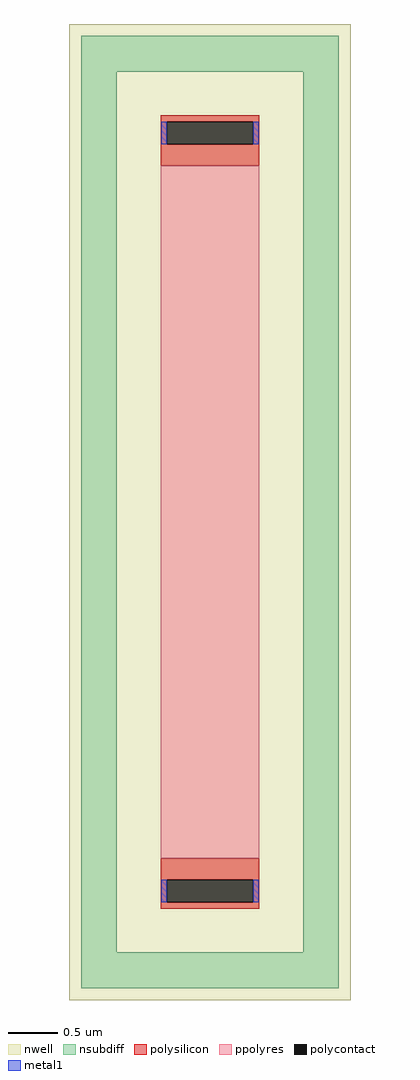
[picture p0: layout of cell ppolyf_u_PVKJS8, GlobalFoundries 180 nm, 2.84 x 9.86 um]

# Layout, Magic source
magic
tech gf180mcuC
magscale 1 10
<< nwell >>
rect -284 -986 284 986
<< nsubdiff >>
rect -260 890 260 962
rect -260 -890 -188 890
rect 188 -890 260 890
rect -260 -962 260 -890
<< polysilicon >>
rect -100 789 100 802
rect -100 743 -87 789
rect 87 743 100 789
rect -100 700 100 743
rect -100 -743 100 -700
rect -100 -789 -87 -743
rect 87 -789 100 -743
rect -100 -802 100 -789
<< polycontact >>
rect -87 743 87 789
rect -87 -789 87 -743
<< ppolyres >>
rect -100 -700 100 700
<< metal1 >>
rect -98 743 -87 789
rect 87 743 98 789
rect -98 -789 -87 -743
rect 87 -789 98 -743
<< properties >>
string FIXED_BBOX -224 -926 224 926
string gencell ppolyf_u
string library gf180mcu
string parameters w 1.0 l 7.0 m 1 nx 1 wmin 0.80 lmin 1.00 rho 315 val 2.37k dummy 0 dw 0.07 term 0.0 sterm 0.0 caplen 0.4 snake 0 glc 0 grc 0 gtc 0 gbc 0 roverlap 0 endcov 100 full_metal 0
<< end >>
